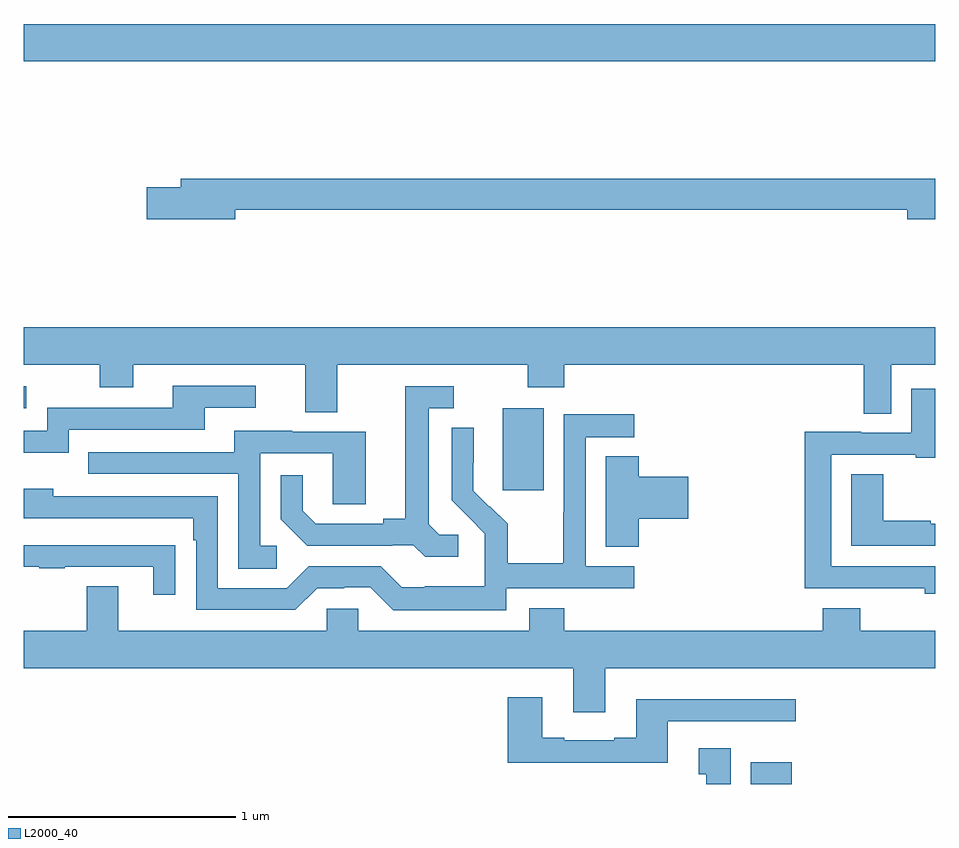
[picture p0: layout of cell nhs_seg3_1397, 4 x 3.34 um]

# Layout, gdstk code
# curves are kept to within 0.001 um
import gdstk
lib = gdstk.Library(unit=1e-6, precision=1e-09)
def R(c, l, rs):  # rectangles x0, y0, x1, y1
    for r in rs: c.add(gdstk.rectangle(r[:2], r[2:], *l))
def P(c, l, *ps):  # polygons
    for p in ps: c.add(gdstk.Polygon(p, *l))
L2000_40 = (2000, 40)

nhs_seg3_1397 = lib.new_cell('nhs_seg3_1397')
R(nhs_seg3_1397, L2000_40, [(186.191,708.4,186.37,708.496), (185.102,709.689,185.281,710.05), (183,710.049,183.01,710.145), (183,711.572,187,711.736)])
P(nhs_seg3_1397, L2000_40, [(183.928,710.92),(186.878,710.92),(186.878,710.878),(187,710.878),(187,711.056),(183.689,711.056),(183.689,711.02),(183.54,711.02),(183.54,710.878),(183.928,710.878)],
  [(186.808,710.24),(187,710.24),(187,710.404),(183,710.404),(183,710.24),(183.334,710.24),(183.334,710.141),(183.481,710.141),(183.481,710.24),(184.235,710.24),(184.235,710.032),(184.375,710.032),(184.375,710.24),(185.212,710.24),(185.212,710.141),(185.372,710.141),(185.372,710.24),(186.687,710.24),(186.687,710.026),(186.808,710.026)],
  [(183.198,709.956),(183.793,709.956),(183.793,710.052),(184.018,710.052),(184.018,710.148),(183.653,710.148),(183.653,710.052),(183.102,710.052),(183.102,709.95),(183,709.95),(183,709.853),(183.198,709.853)],
  [(184.906,709.494),(184.824,709.494),(184.777,709.541),(184.777,710.049),(184.888,710.049),(184.888,710.145),(184.673,710.145),(184.673,709.565),(184.577,709.565),(184.577,709.542),(184.282,709.542),(184.225,709.599),(184.225,709.756),(184.128,709.756),(184.128,709.562),(184.244,709.446),(184.616,709.446),(184.616,709.449),(184.71,709.449),(184.762,709.397),(184.906,709.397)],
  [(187,709.356),(186.543,709.356),(186.543,709.845),(186.914,709.845),(186.914,709.833),(187,709.833),(187,710.134),(186.896,710.134),(186.896,709.941),(186.675,709.941),(186.675,709.946),(186.427,709.946),(186.427,709.26),(186.754,709.26),(186.754,709.259),(186.954,709.259),(186.954,709.235),(187,709.235)],
  [(185.118,709.26),(185.68,709.26),(185.68,709.356),(185.466,709.356),(185.466,709.923),(185.68,709.923),(185.68,710.022),(185.37,710.022),(185.37,709.592),(185.368,709.592),(185.368,709.369),(185.123,709.369),(185.123,709.543),(185.046,709.62),(185.043,709.617),(184.973,709.688),(184.974,709.964),(184.878,709.964),(184.878,709.646),(185.024,709.498),(185.024,709.401),(185.022,709.401),(185.022,709.267),(184.759,709.267),(184.759,709.263),(184.659,709.263),(184.566,709.356),(184.251,709.356),(184.155,709.26),(183.852,709.26),(183.852,709.662),(183.128,709.662),(183.128,709.696),(183,709.696),(183,709.566),(183.743,709.566),(183.743,709.469),(183.756,709.469),(183.756,709.164),(184.191,709.164),(184.287,709.26),(184.406,709.26),(184.406,709.263),(184.521,709.263),(184.621,709.163),(185.118,709.163)],
  [(184.111,709.446),(184.038,709.446),(184.038,709.851),(184.356,709.851),(184.356,709.627),(184.501,709.627),(184.501,709.947),(184.177,709.947),(184.177,709.951),(183.923,709.951),(183.923,709.857),(183.283,709.857),(183.283,709.761),(183.942,709.761),(183.942,709.345),(184.111,709.345)],
  [(185.699,709.565),(185.917,709.565),(185.917,709.748),(185.699,709.748),(185.699,709.838),(185.555,709.838),(185.555,709.441),(185.699,709.441)],
  [(187,709.542),(186.98,709.542),(186.98,709.555),(186.772,709.555),(186.772,709.76),(186.632,709.76),(186.632,709.446),(187,709.446)],
  [(183.665,709.448),(183.563,709.448),(183.563,709.449),(183,709.449),(183,709.353),(183.067,709.353),(183.067,709.348),(183.179,709.348),(183.179,709.353),(183.569,709.353),(183.569,709.23),(183.665,709.23)],
  [(185.551,708.908),(187,708.908),(187,709.072),(186.671,709.072),(186.671,709.171),(186.506,709.171),(186.506,709.072),(185.372,709.072),(185.372,709.171),(185.219,709.171),(185.219,709.072),(184.467,709.072),(184.467,709.17),(184.329,709.17),(184.329,709.072),(183.415,709.072),(183.415,709.267),(183.275,709.267),(183.275,709.072),(183,709.072),(183,708.908),(185.411,708.908),(185.411,708.714),(185.551,708.714)],
  [(185.827,708.675),(186.388,708.675),(186.388,708.772),(185.687,708.772),(185.687,708.604),(185.591,708.604),(185.591,708.591),(185.371,708.591),(185.371,708.604),(185.275,708.604),(185.275,708.781),(185.123,708.781),(185.123,708.494),(185.827,708.494)],
  [(186.103,708.556),(185.963,708.556),(185.963,708.443),(185.996,708.443),(185.996,708.4),(186.103,708.4)])

lib.write_gds('nhs_seg3_1397.gds')
